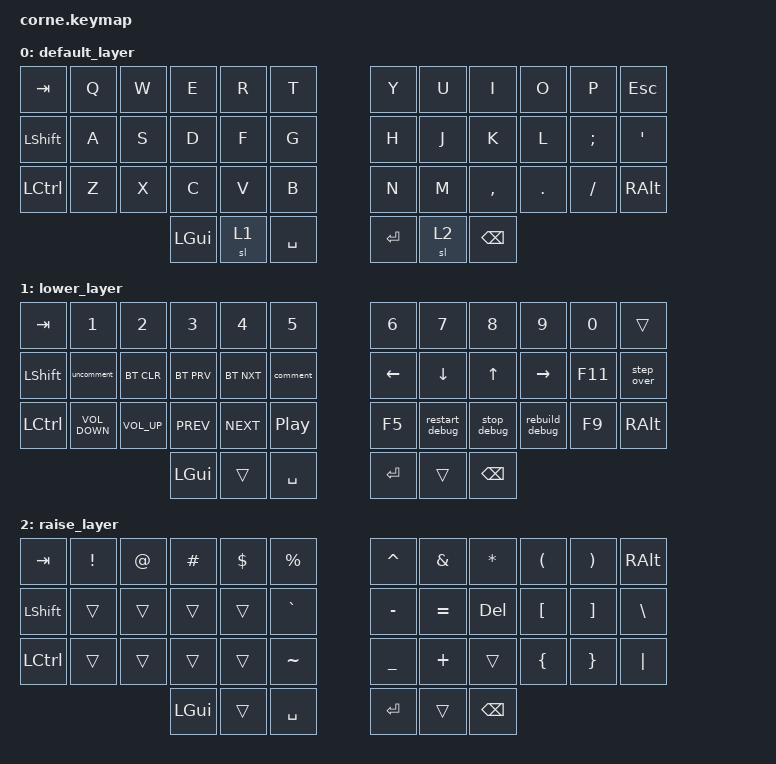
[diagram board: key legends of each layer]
/*
 * Copyright (c) 2020 The ZMK Contributors
 *
 * SPDX-License-Identifier: MIT
 */

#include <behaviors.dtsi>
#include <dt-bindings/zmk/bt.h>
#include <dt-bindings/zmk/keys.h>

&sl { release-after-ms = <1500>; };

/ {
    macros {
        restart_debug: restart_debug {
            compatible = "zmk,behavior-macro";
            #binding-cells = <0>;
            bindings =
                <&macro_press>,
                <&kp LCTRL &kp LEFT_SHIFT>,
                <&macro_tap>,
                <&kp F5>,
                <&macro_release>,
                <&kp LCTRL &kp LEFT_SHIFT>;
        };

        stop_debug: stop_debug {
            compatible = "zmk,behavior-macro";
            #binding-cells = <0>;
            bindings =
                <&macro_press>,
                <&kp LEFT_SHIFT>,
                <&macro_tap>,
                <&kp F5>,
                <&macro_release>,
                <&kp LEFT_SHIFT>;

            label = "STOP_DEBUG";
        };

        rebuild_debug: rebuild_debug {
            compatible = "zmk,behavior-macro";
            #binding-cells = <0>;
            bindings =
                <&macro_press>,
                <&kp LCTRL &kp LEFT_SHIFT>,
                <&macro_tap>,
                <&kp B>,
                <&macro_release>,
                <&kp LCTRL &kp LEFT_SHIFT>;

            label = "REBUILD_DEBUG";
        };

        step_over: step_over {
            compatible = "zmk,behavior-macro";
            #binding-cells = <0>;
            bindings =
                <&macro_press>,
                <&kp LEFT_SHIFT>,
                <&macro_tap>,
                <&kp F11>,
                <&macro_release>,
                <&kp LEFT_SHIFT>;

            label = "STEP_OVER";
        };

        comment: comment {
            compatible = "zmk,behavior-macro";
            #binding-cells = <0>;
            bindings =
                <&macro_press>,
                <&kp LEFT_CONTROL>,
                <&macro_tap>,
                <&kp K>,
                <&macro_release>,
                <&kp LEFT_CONTROL>,
                <&macro_press>,
                <&kp LEFT_CONTROL>,
                <&macro_tap>,
                <&kp C>,
                <&macro_release>,
                <&kp LEFT_CONTROL>;

            label = "COMMENT";
        };

        uncomment: uncomment {
            compatible = "zmk,behavior-macro";
            #binding-cells = <0>;
            bindings =
                <&macro_press>,
                <&kp LEFT_CONTROL>,
                <&macro_tap>,
                <&kp K>,
                <&macro_release>,
                <&kp LEFT_CONTROL>,
                <&macro_press>,
                <&kp LEFT_CONTROL>,
                <&macro_tap>,
                <&kp U>,
                <&macro_release>,
                <&kp LEFT_CONTROL>;

            label = "UNCOMMENT";
        };
    };
};

/ {
    keymap {
        compatible = "zmk,keymap";

        default_layer {
            // -----------------------------------------------------------------------------------------
            // |  TAB |  Q  |  W  |  E  |  R  |  T  |   |  Y  |  U   |  I  |  O  |  P  | ESC  |
            // | SHFT |  A  |  S  |  D  |  F  |  G  |   |  H  |  J   |  K  |  L  |  ;  |  '   |
            // | CTRL |  Z  |  X  |  C  |  V  |  B  |   |  N  |  M   |  ,  |  .  |  /  | ALT  |
            //                    | GUI | LWR | SPC |   | ENT | RSE  | BKSP|

            bindings = <
&kp TAB    &kp Q  &kp W  &kp E     &kp R  &kp T        &kp Y    &kp U  &kp I          &kp O    &kp P     &kp ESC
&kp LSHFT  &kp A  &kp S  &kp D     &kp F  &kp G        &kp H    &kp J  &kp K          &kp L    &kp SEMI  &kp SQT
&kp LCTRL  &kp Z  &kp X  &kp C     &kp V  &kp B        &kp N    &kp M  &kp COMMA      &kp DOT  &kp FSLH  &kp RALT
                         &kp LGUI  &sl 1  &kp SPACE    &kp RET  &sl 2  &kp BACKSPACE
            >;
        };

        lower_layer {
            // -----------------------------------------------------------------------------------------
            // |  TAB |  1  |  2  |  3  |  4  |  5  |   |  6  |  7  |  8  |  9  |  0  | ALT  |
            // | BTCLR| BT1 | BT2 | BT3 | BT4 | BT5 |   | LFT | DWN |  UP | RGT |     |      |
            // | SHFT |     |     |     |     |     |   |RSTDB|     |     |     |     |      |
            //                    | GUI |     | SPC |   | ENT |     | BKSP|

            bindings = <
&kp TAB           &kp N1             &kp N2           &kp N3      &kp N4      &kp N5              &kp N6    &kp N7          &kp N8       &kp N9          &kp N0   &trans
&kp LEFT_SHIFT    &uncomment         &bt BT_CLR       &bt BT_PRV  &bt BT_NXT  &comment            &kp LEFT  &kp DOWN        &kp UP       &kp RIGHT       &kp F11  &step_over
&kp LEFT_CONTROL  &kp C_VOLUME_DOWN  &kp C_VOLUME_UP  &kp C_PREV  &kp C_NEXT  &kp C_PLAY_PAUSE    &kp F5    &restart_debug  &stop_debug  &rebuild_debug  &kp F9   &kp RALT
                                                      &kp LGUI    &trans      &kp SPACE           &kp RET   &trans          &kp BSPC
            >;
        };

        raise_layer {
            // -----------------------------------------------------------------------------------------
            // |  TAB |  !  |  @  |  #  |  $  |  %  |   |  ^  |  &  |  *  |  (  |  )  | ALT  |
            // | SHFT |     |     |     |     |  `  |   |  -  |  =  |     |  [  |  ]  |  \   |
            // | CTRL |     |     |     |     |  ~  |   |  _  |  +  |     |  {  |  }  | "|"  |
            //                    | GUI |     | SPC |   | ENT |     | BKSP|

            bindings = <
&kp TAB    &kp EXCL  &kp AT  &kp HASH  &kp DLLR  &kp PRCNT    &kp CARET  &kp AMPS   &kp ASTRK  &kp LPAR  &kp RPAR  &kp RALT
&kp LSHFT  &trans    &trans  &trans    &trans    &kp GRAVE    &kp MINUS  &kp EQUAL  &kp DEL    &kp LBKT  &kp RBKT  &kp BSLH
&kp LCTRL  &trans    &trans  &trans    &trans    &kp TILDE    &kp UNDER  &kp PLUS   &trans     &kp LBRC  &kp RBRC  &kp PIPE
                             &kp LGUI  &trans    &kp SPACE    &kp RET    &trans     &kp BSPC
            >;
        };
    };
};
